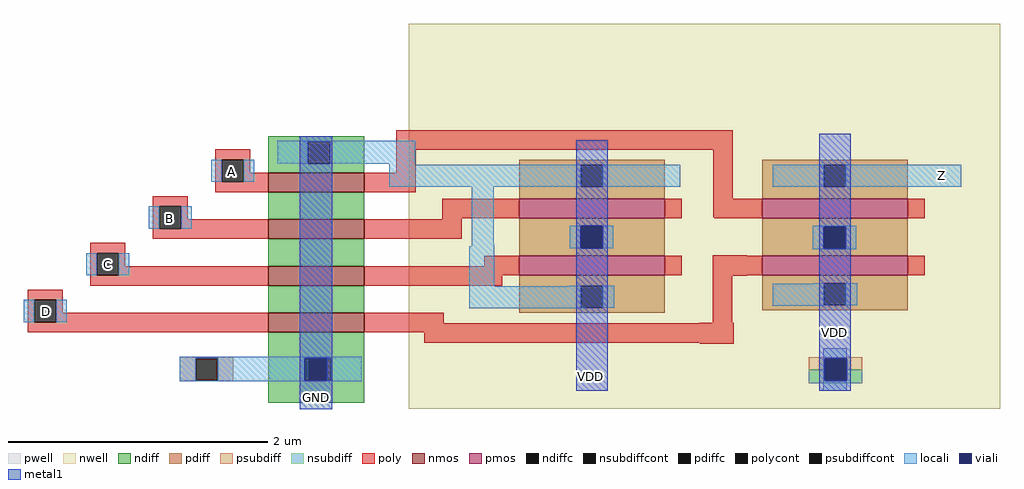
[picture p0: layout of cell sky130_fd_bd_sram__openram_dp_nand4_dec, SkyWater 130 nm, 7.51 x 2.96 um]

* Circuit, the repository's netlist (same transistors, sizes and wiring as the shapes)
* Copyright 2020 The SkyWater PDK Authors
*
* Licensed under the Apache License, Version 2.0 (the "License");
* you may not use this file except in compliance with the License.
* You may obtain a copy of the License at
*
*     https://www.apache.org/licenses/LICENSE-2.0
*
* Unless required by applicable law or agreed to in writing, software
* distributed under the License is distributed on an "AS IS" BASIS,
* WITHOUT WARRANTIES OR CONDITIONS OF ANY KIND, either express or implied.
* See the License for the specific language governing permissions and
* limitations under the License.
*
* SPDX-License-Identifier: Apache-2.0


.subckt sky130_fd_bd_sram__openram_dp_nand4_dec A B C D GND VDD Z
X0 a_406_159# C a_406_87# GND sky130_fd_pr__nfet_01v8 w=740000u l=150000u
X1 Z A VDD VDD sky130_fd_pr__pfet_01v8 w=1.12e+06u l=150000u
X2 VDD D a_1166_91# VDD sky130_fd_pr__pfet_01v8 w=1.12e+06u l=150000u
X3 a_406_231# B a_406_159# GND sky130_fd_pr__nfet_01v8 w=740000u l=150000u
X4 a_406_303# B VDD VDD sky130_fd_pr__pfet_01v8 w=1.12e+06u l=150000u
X5 VDD C a_406_303# VDD sky130_fd_pr__pfet_01v8 w=1.12e+06u l=150000u
X6 a_406_303# A a_406_231# GND sky130_fd_pr__nfet_01v8 w=740000u l=150000u
X7 a_406_87# D GND GND sky130_fd_pr__nfet_01v8 w=740000u l=150000u
.ends

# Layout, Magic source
magic
tech sky130A
magscale 1 2
<< nwell >>
rect 622 -60 1532 532
<< pwell >>
rect 270 -17 352 19
<< nmos >>
rect 406 273 554 303
rect 406 201 554 231
rect 406 129 554 159
rect 406 57 554 87
<< pmos >>
rect 792 233 1016 263
rect 1166 233 1390 263
rect 792 145 1016 175
rect 1166 145 1390 175
<< ndiff >>
rect 406 351 554 359
rect 406 317 467 351
rect 501 317 554 351
rect 406 303 554 317
rect 406 231 554 273
rect 406 159 554 201
rect 406 87 554 129
rect 406 17 554 57
rect 406 -17 469 17
rect 503 -17 554 17
rect 406 -51 554 -17
<< pdiff >>
rect 792 315 1016 323
rect 792 281 887 315
rect 921 281 1016 315
rect 792 263 1016 281
rect 1166 315 1390 323
rect 1166 281 1261 315
rect 1295 281 1390 315
rect 1166 263 1390 281
rect 792 221 1016 233
rect 792 187 887 221
rect 921 187 1016 221
rect 792 175 1016 187
rect 1166 220 1390 233
rect 1166 186 1261 220
rect 1295 186 1390 220
rect 1166 175 1390 186
rect 792 129 1016 145
rect 792 95 887 129
rect 921 95 1016 129
rect 792 87 1016 95
rect 1166 133 1390 145
rect 1166 99 1261 133
rect 1295 99 1390 133
rect 1166 91 1390 99
<< ndiffc >>
rect 467 317 501 351
rect 469 -17 503 17
<< pdiffc >>
rect 887 281 921 315
rect 1261 281 1295 315
rect 887 187 921 221
rect 1261 186 1295 220
rect 887 95 921 129
rect 1261 99 1295 133
<< psubdiff >>
rect 270 17 352 19
rect 270 -17 294 17
rect 328 -17 352 17
rect 1238 17 1320 19
rect 1238 0 1262 17
rect 1296 0 1320 17
<< nsubdiff >>
rect 1238 -17 1262 0
rect 1296 -17 1320 0
rect 1238 -21 1320 -17
<< psubdiffcont >>
rect 294 -17 328 17
<< nsubdiffcont >>
rect 1262 -17 1296 17
<< poly >>
rect 324 323 378 339
rect 324 289 334 323
rect 368 303 378 323
rect 603 338 1121 368
rect 603 303 633 338
rect 368 289 406 303
rect 324 273 406 289
rect 554 273 633 303
rect 228 251 282 267
rect 228 217 238 251
rect 272 231 282 251
rect 1091 263 1121 338
rect 674 233 792 263
rect 1016 233 1042 263
rect 1091 234 1166 263
rect 1092 233 1166 234
rect 1390 233 1416 263
rect 674 231 704 233
rect 272 217 406 231
rect 228 201 406 217
rect 554 201 704 231
rect 132 179 186 195
rect 132 145 142 179
rect 176 159 186 179
rect 1090 175 1142 176
rect 738 159 792 175
rect 176 145 406 159
rect 132 129 406 145
rect 554 145 792 159
rect 1016 145 1042 175
rect 1090 145 1166 175
rect 1390 145 1416 175
rect 554 129 766 145
rect 36 107 90 123
rect 36 73 46 107
rect 80 87 90 107
rect 1090 144 1142 145
rect 80 73 406 87
rect 36 57 406 73
rect 554 71 676 87
rect 1090 72 1120 144
rect 1070 71 1122 72
rect 554 57 1122 71
rect 646 41 1122 57
rect 1070 40 1122 41
<< polycont >>
rect 334 289 368 323
rect 238 217 272 251
rect 142 145 176 179
rect 46 73 80 107
<< locali >>
rect 420 351 632 352
rect 318 289 334 323
rect 368 289 384 323
rect 420 317 467 351
rect 501 317 632 351
rect 592 315 632 317
rect 592 281 887 315
rect 921 281 1040 315
rect 1182 281 1261 315
rect 1295 281 1472 315
rect 222 217 238 251
rect 272 217 288 251
rect 719 192 753 281
rect 719 190 754 192
rect 126 145 142 179
rect 176 145 192 179
rect 715 128 754 190
rect 870 187 887 221
rect 921 187 937 221
rect 1244 220 1311 221
rect 1244 186 1261 220
rect 1295 186 1311 220
rect 1244 185 1311 186
rect 1244 132 1261 133
rect 870 128 887 129
rect 30 73 46 107
rect 80 73 96 107
rect 715 95 887 128
rect 921 95 938 129
rect 1182 99 1261 132
rect 1295 99 1312 133
rect 1182 98 1269 99
rect 715 94 895 95
rect 270 17 550 20
rect 270 -17 294 17
rect 328 -17 462 17
rect 503 -17 550 17
rect 270 -18 550 -17
rect 1260 17 1296 33
rect 1260 -17 1262 17
rect 1260 -33 1296 -17
<< viali >>
rect 887 187 921 221
rect 1261 186 1295 220
rect 462 -17 469 17
rect 469 -17 496 17
rect 1262 -17 1296 17
<< metal1 >>
rect 454 17 504 359
rect 454 -17 462 17
rect 496 -17 504 17
rect 454 -61 504 -17
rect 880 221 928 353
rect 880 187 887 221
rect 921 187 928 221
rect 880 -33 928 187
rect 1254 220 1302 363
rect 1254 186 1261 220
rect 1295 186 1302 220
rect 1254 17 1302 186
rect 1254 -17 1262 17
rect 1296 -17 1302 17
rect 1254 -33 1302 -17
<< labels >>
rlabel metal1 s 462 -51 498 -35 4 GND
port 4 nsew
rlabel metal1 s 902 -11 902 -11 4 VDD
port 5 nsew
rlabel metal1 s 1278 57 1278 57 4 VDD
port 5 nsew
rlabel locali s 350 305 350 305 4 A
port 0 nsew
rlabel locali s 254 233 254 233 4 B
port 1 nsew
rlabel locali s 158 161 158 161 4 C
port 2 nsew
rlabel locali s 64 89 64 89 4 D
port 3 nsew
rlabel locali s 1442 298 1442 298 4 Z
port 6 nsew
<< properties >>
string FIXED_BBOX 0 0 1522 395
string GDS_FILE sky130_fd_bd_sram__openram_dp_nand4_dec.gds
string GDS_END 6436
string GDS_START 170
<< end >>
